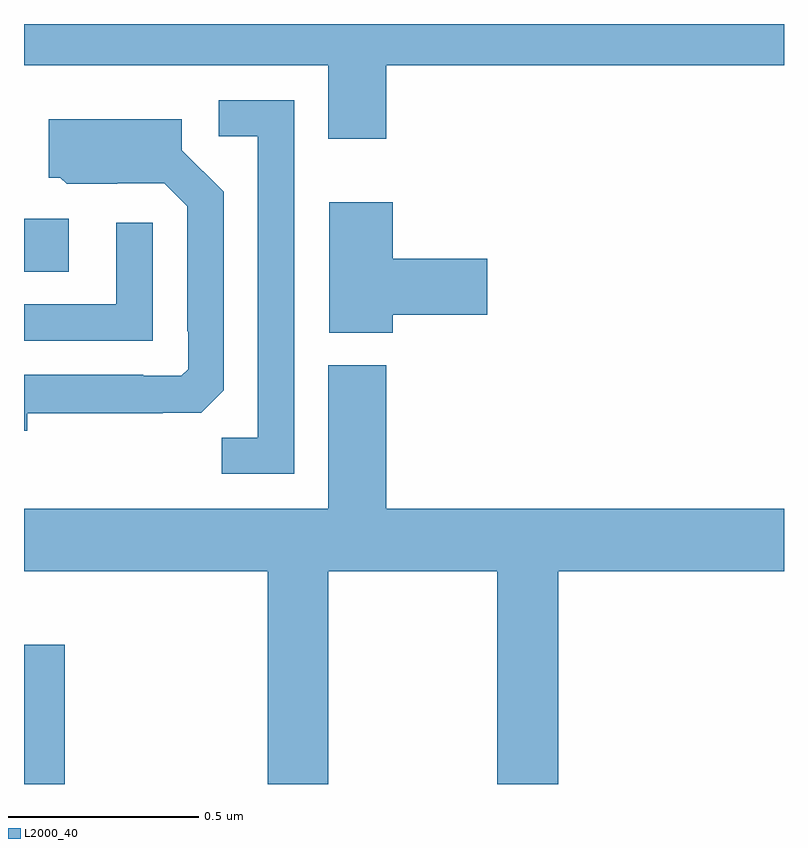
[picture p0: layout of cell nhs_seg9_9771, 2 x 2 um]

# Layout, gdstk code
import gdstk
lib = gdstk.Library(unit=1e-6, precision=1e-09)
def R(c, l, rs):  # rectangles x0, y0, x1, y1
    for r in rs: c.add(gdstk.rectangle(r[:2], r[2:], *l))
def P(c, l, *ps):  # polygons
    for p in ps: c.add(gdstk.Polygon(p, *l))
L2000_40 = (2000, 40)

nhs_seg9_9771 = lib.new_cell('nhs_seg9_9771')
R(nhs_seg9_9771, L2000_40, [(234,1222.5,234.107,1222.867), (234,1223.848,234.118,1223.988)])
P(nhs_seg9_9771, L2000_40, [(234.953,1224.392),(236,1224.392),(236,1224.5),(234,1224.5),(234,1224.392),(234.8,1224.392),(234.8,1224.198),(234.953,1224.198)],
  [(234.711,1224.3),(234.513,1224.3),(234.513,1224.204),(234.615,1224.204),(234.615,1223.411),(234.52,1223.411),(234.52,1223.316),(234.711,1223.316)],
  [(234.009,1223.476),(234.365,1223.476),(234.365,1223.477),(234.466,1223.477),(234.525,1223.536),(234.525,1224.058),(234.415,1224.168),(234.415,1224.25),(234.065,1224.25),(234.065,1224.096),(234.096,1224.096),(234.112,1224.08),(234.246,1224.08),(234.246,1224.081),(234.369,1224.081),(234.429,1224.021),(234.429,1223.692),(234.432,1223.692),(234.432,1223.592),(234.414,1223.574),(234.314,1223.574),(234.314,1223.577),(234,1223.577),(234,1223.43),(234.009,1223.43)],
  [(234.97,1223.735),(235.219,1223.735),(235.219,1223.882),(234.97,1223.882),(234.97,1224.031),(234.803,1224.031),(234.803,1223.687),(234.97,1223.687)],
  [(234.339,1223.977),(234.243,1223.977),(234.243,1223.763),(234,1223.763),(234,1223.667),(234.339,1223.667)],
  [(234.801,1223.06),(235.246,1223.06),(235.246,1222.5),(235.406,1222.5),(235.406,1223.06),(236,1223.06),(236,1223.224),(234.953,1223.224),(234.953,1223.602),(234.8,1223.602),(234.8,1223.224),(234,1223.224),(234,1223.06),(234.641,1223.06),(234.641,1222.5),(234.801,1222.5)])

lib.write_gds('nhs_seg9_9771.gds')
